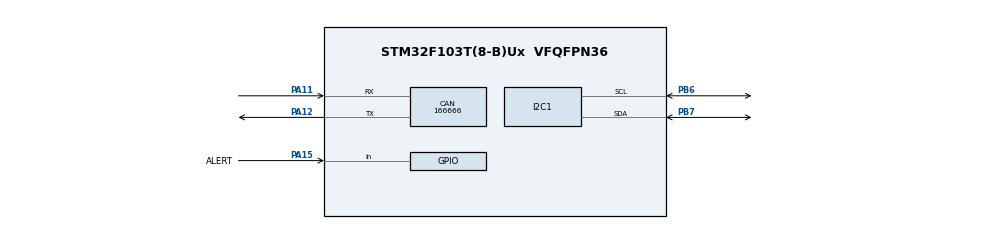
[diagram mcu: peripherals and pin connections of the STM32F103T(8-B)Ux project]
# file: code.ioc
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CAN.CalculateBaudRate=166666
CAN.CalculateTimeBit=6000.00
CAN.CalculateTimeQuantum=2000.0
Mcu.Family=STM32F1
Mcu.Name=STM32F103T(8-B)Ux
Mcu.Package=VFQFPN36
NVIC.PriorityGroup=NVIC_PRIORITYGROUP_4
NVIC.TIM2_IRQn=true\:0\:0\:false\:false\:true\:true\:true
NVIC.TIM3_IRQn=true\:0\:0\:false\:false\:true\:true\:true
PA11.Mode=CAN_Activate
PA11.Signal=CAN_RX
PA12.Mode=CAN_Activate
PA12.Signal=CAN_TX
PA13.Mode=Trace_Asynchronous_SW
PA13.Signal=SYS_JTMS-SWDIO
PA14.Mode=Trace_Asynchronous_SW
PA14.Signal=SYS_JTCK-SWCLK
PA15.GPIO_Label=ALERT
PA15.Signal=GPIO_Input
PB3.Mode=Trace_Asynchronous_SW
PB3.Signal=SYS_JTDO-TRACESWO
PB6.Mode=I2C
PB6.Signal=I2C1_SCL
PB7.Mode=I2C
PB7.Signal=I2C1_SDA
ProjectManager.HeapSize=0x200
ProjectManager.StackSize=0x400
ProjectManager.TargetToolchain=STM32CubeIDE
RCC.AHBFreq_Value=8000000
RCC.APB1Freq_Value=8000000
RCC.APB1TimFreq_Value=8000000
RCC.APB2Freq_Value=8000000
RCC.APB2TimFreq_Value=8000000
RCC.HCLKFreq_Value=8000000
TIM2.Period=8000-1
TIM2.Prescaler=2
TIM3.Period=2000-1
TIM3.Prescaler=8000-1
VP_TIM2_VS_ClockSourceINT.Mode=Internal
VP_TIM3_VS_ClockSourceINT.Mode=Internal
board=custom

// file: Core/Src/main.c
/* USER CODE BEGIN Header */
/**
  ******************************************************************************
  * @file           : main.c
  * @brief          : Main program body
  ******************************************************************************
  * @attention
  *
  * <h2><center>&copy; Copyright (c) 2021 STMicroelectronics.
  * All rights reserved.</center></h2>
  *
  * This software component is licensed by ST under BSD 3-Clause license,
  * the "License"; You may not use this file except in compliance with the
  * License. You may obtain a copy of the License at:
  *                        opensource.org/licenses/BSD-3-Clause
  *
  ******************************************************************************
  */
/* USER CODE END Header */
#include "main.h"

CAN_HandleTypeDef hcan;

I2C_HandleTypeDef hi2c1;

TIM_HandleTypeDef htim2;
TIM_HandleTypeDef htim3;

void SystemClock_Config(void);
static void MX_GPIO_Init(void);
static void MX_CAN_Init(void);
static void MX_I2C1_Init(void);
static void MX_TIM2_Init(void);
static void MX_TIM3_Init(void);

int main(void)
{
  /* USER CODE BEGIN 1 */
    HAL_StatusTypeDef I2CStat;
  /* USER CODE END 1 */

  /* MCU Configuration--------------------------------------------------------*/

  /* Reset of all peripherals, Initializes the Flash interface and the Systick. */
  HAL_Init();

  /* Configure the system clock */
  SystemClock_Config();

  /* Initialize all configured peripherals */
  MX_GPIO_Init();
  MX_CAN_Init();
  MX_I2C1_Init();
  MX_TIM2_Init();
  MX_TIM3_Init();
  /* USER CODE BEGIN 2 */
  HAL_TIM_Base_Start_IT(&htim2);
  HAL_TIM_Base_Start_IT(&htim3);

  uint16_t timer_val=0;
  /* USER CODE END 2 */

  /* Infinite loop */
  while (1){

  }
}

void SystemClock_Config(void)
{
  RCC_OscInitTypeDef RCC_OscInitStruct = {0};
  RCC_ClkInitTypeDef RCC_ClkInitStruct = {0};

  /** Initializes the RCC Oscillators according to the specified parameters
  * in the RCC_OscInitTypeDef structure.
  */
  RCC_OscInitStruct.OscillatorType = RCC_OSCILLATORTYPE_HSI;
  RCC_OscInitStruct.HSIState = RCC_HSI_ON;
  RCC_OscInitStruct.HSICalibrationValue = RCC_HSICALIBRATION_DEFAULT;
  RCC_OscInitStruct.PLL.PLLState = RCC_PLL_NONE;
  if (HAL_RCC_OscConfig(&RCC_OscInitStruct) != HAL_OK)
  {
    Error_Handler();
  }
  /** Initializes the CPU, AHB and APB buses clocks
  */
  RCC_ClkInitStruct.ClockType = RCC_CLOCKTYPE_HCLK|RCC_CLOCKTYPE_SYSCLK
                              |RCC_CLOCKTYPE_PCLK1|RCC_CLOCKTYPE_PCLK2;
  RCC_ClkInitStruct.SYSCLKSource = RCC_SYSCLKSOURCE_HSI;
  RCC_ClkInitStruct.AHBCLKDivider = RCC_SYSCLK_DIV1;
  RCC_ClkInitStruct.APB1CLKDivider = RCC_HCLK_DIV1;
  RCC_ClkInitStruct.APB2CLKDivider = RCC_HCLK_DIV1;

  if (HAL_RCC_ClockConfig(&RCC_ClkInitStruct, FLASH_LATENCY_0) != HAL_OK)
  {
    Error_Handler();
  }
}

static void MX_CAN_Init(void)
{

  hcan.Instance = CAN1;
  hcan.Init.Prescaler = 16;
  hcan.Init.Mode = CAN_MODE_NORMAL;
  hcan.Init.SyncJumpWidth = CAN_SJW_1TQ;
  hcan.Init.TimeSeg1 = CAN_BS1_1TQ;
  hcan.Init.TimeSeg2 = CAN_BS2_1TQ;
  hcan.Init.TimeTriggeredMode = DISABLE;
  hcan.Init.AutoBusOff = DISABLE;
  hcan.Init.AutoWakeUp = DISABLE;
  hcan.Init.AutoRetransmission = DISABLE;
  hcan.Init.ReceiveFifoLocked = DISABLE;
  hcan.Init.TransmitFifoPriority = DISABLE;
  if (HAL_CAN_Init(&hcan) != HAL_OK)
  {
    Error_Handler();
  }

}

static void MX_I2C1_Init(void)
{

  hi2c1.Instance = I2C1;
  hi2c1.Init.ClockSpeed = 100000;
  hi2c1.Init.DutyCycle = I2C_DUTYCYCLE_2;
  hi2c1.Init.OwnAddress1 = 0;
  hi2c1.Init.AddressingMode = I2C_ADDRESSINGMODE_7BIT;
  hi2c1.Init.DualAddressMode = I2C_DUALADDRESS_DISABLE;
  hi2c1.Init.OwnAddress2 = 0;
  hi2c1.Init.GeneralCallMode = I2C_GENERALCALL_DISABLE;
  hi2c1.Init.NoStretchMode = I2C_NOSTRETCH_DISABLE;
  if (HAL_I2C_Init(&hi2c1) != HAL_OK)
  {
    Error_Handler();
  }

}

static void MX_TIM2_Init(void)
{

  TIM_ClockConfigTypeDef sClockSourceConfig = {0};
  TIM_MasterConfigTypeDef sMasterConfig = {0};

  htim2.Instance = TIM2;
  htim2.Init.Prescaler = 2;
  htim2.Init.CounterMode = TIM_COUNTERMODE_UP;
  htim2.Init.Period = 8000-1;
  htim2.Init.ClockDivision = TIM_CLOCKDIVISION_DIV1;
  htim2.Init.AutoReloadPreload = TIM_AUTORELOAD_PRELOAD_DISABLE;
  if (HAL_TIM_Base_Init(&htim2) != HAL_OK)
  {
    Error_Handler();
  }
  sClockSourceConfig.ClockSource = TIM_CLOCKSOURCE_INTERNAL;
  if (HAL_TIM_ConfigClockSource(&htim2, &sClockSourceConfig) != HAL_OK)
  {
    Error_Handler();
  }
  sMasterConfig.MasterOutputTrigger = TIM_TRGO_RESET;
  sMasterConfig.MasterSlaveMode = TIM_MASTERSLAVEMODE_DISABLE;
  if (HAL_TIMEx_MasterConfigSynchronization(&htim2, &sMasterConfig) != HAL_OK)
  {
    Error_Handler();
  }

}

static void MX_TIM3_Init(void)
{

  TIM_ClockConfigTypeDef sClockSourceConfig = {0};
  TIM_MasterConfigTypeDef sMasterConfig = {0};

  htim3.Instance = TIM3;
  htim3.Init.Prescaler = 8000-1;
  htim3.Init.CounterMode = TIM_COUNTERMODE_UP;
  htim3.Init.Period = 2000-1;
  htim3.Init.ClockDivision = TIM_CLOCKDIVISION_DIV1;
  htim3.Init.AutoReloadPreload = TIM_AUTORELOAD_PRELOAD_DISABLE;
  if (HAL_TIM_Base_Init(&htim3) != HAL_OK)
  {
    Error_Handler();
  }
  sClockSourceConfig.ClockSource = TIM_CLOCKSOURCE_INTERNAL;
  if (HAL_TIM_ConfigClockSource(&htim3, &sClockSourceConfig) != HAL_OK)
  {
    Error_Handler();
  }
  sMasterConfig.MasterOutputTrigger = TIM_TRGO_RESET;
  sMasterConfig.MasterSlaveMode = TIM_MASTERSLAVEMODE_DISABLE;
  if (HAL_TIMEx_MasterConfigSynchronization(&htim3, &sMasterConfig) != HAL_OK)
  {
    Error_Handler();
  }

}

static void MX_GPIO_Init(void)
{
  GPIO_InitTypeDef GPIO_InitStruct = {0};

  /* GPIO Ports Clock Enable */
  __HAL_RCC_GPIOA_CLK_ENABLE();
  __HAL_RCC_GPIOB_CLK_ENABLE();

  /*Configure GPIO pin : ALERT_Pin */
  GPIO_InitStruct.Pin = ALERT_Pin;
  GPIO_InitStruct.Mode = GPIO_MODE_INPUT;
  GPIO_InitStruct.Pull = GPIO_NOPULL;
  HAL_GPIO_Init(ALERT_GPIO_Port, &GPIO_InitStruct);

}

/* USER CODE BEGIN 4 */

void HAL_TIM_PeriodElapsedCallback(TIM_HandleTypeDef *htim)
{
    // Check which version of the timer triggered this callback and toggle LED
    if ( htim == &htim2 && HAL_GPIO_ReadPin(GPIOA, GPIO_PIN_15) ){    //2ms timer
        uint8_t sys_stat = readRegister(SYS_STAT);
        if ( sys_stat == 0 ) {
            updateCC();
        }
        else {
            alert_handler(sys_stat);
        }
    }
    if (htim == &htim3){     //2 second timer
        // UPDATE VOLTAGES AND GET MAX
        int max_cell_voltage = getMaxCellVoltage();

        if (max_cell_voltage > 4) {
            balance_charge();
        }

        // CHECK DIE TEMP STUFF
        battery->packTemp = getTemperatureDegC(0);
        if (battery->packTemp > PACK_OVER_TEMP) {
            alert_handler()
        }

        uint8_t sys_ctrl = readRegister(SYS_CTRL1);
        sys_ctrl &= ~(1 << 2); // SET BIT 3 to 0
        writeRegister(SYS_CTRL1, sys_ctrl);

        battery->dieTemp = getTemperatureDegC(0);
        if (battery->dieTemp > PACK_OVER_TEMP) {
            alert_handler()
        }

        sys_ctrl = readRegister(SYS_CTRL1);
        sys_ctrl &= (1 << 2); // SET BIT 3 to 1
        writeRegister(SYS_CTRL1, sys_ctrl);

    }
}

/* USER CODE END 4 */

void Error_Handler(void)
{
  __disable_irq();
  while (1)
  {
  }
}

/************************ (C) COPYRIGHT STMicroelectronics *****END OF FILE****/
